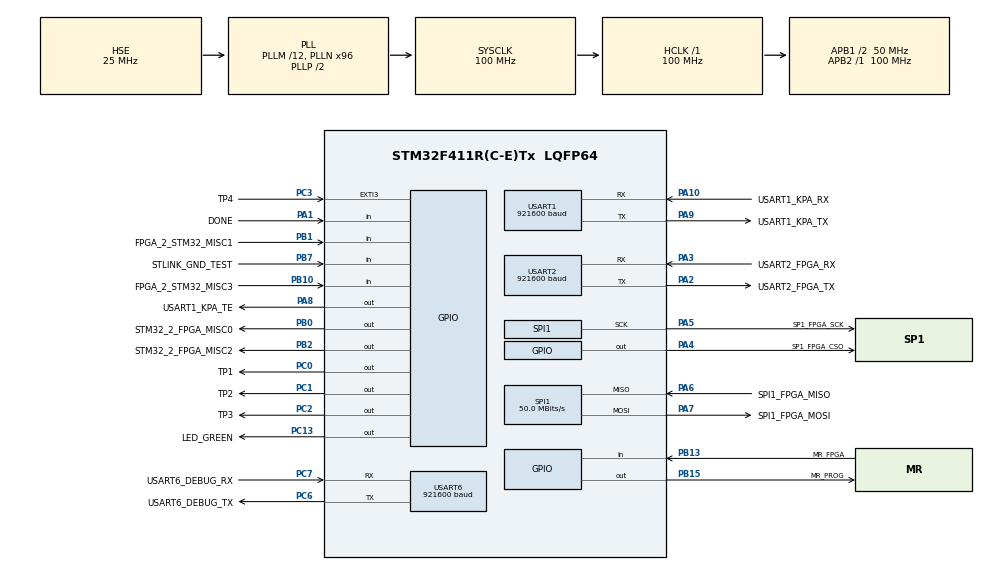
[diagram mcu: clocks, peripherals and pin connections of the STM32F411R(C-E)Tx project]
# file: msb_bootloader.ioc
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ADC1.Channel-0\#ChannelRegularConversion=ADC_CHANNEL_TEMPSENSOR
ADC1.ContinuousConvMode=ENABLE
ADC1.ExternalTrigConv=ADC_SOFTWARE_START
ADC1.InjNumberOfConversion=0
ADC1.NbrOfConversion=1
ADC1.NbrOfConversionFlag=1
ADC1.Rank-0\#ChannelRegularConversion=1
ADC1.SamplingTime-0\#ChannelRegularConversion=ADC_SAMPLETIME_480CYCLES
ADC1.master=1
Dma.Request0=USART6_RX
Dma.Request1=USART6_TX
Dma.Request2=USART1_RX
Dma.Request3=USART1_TX
Dma.Request4=USART2_RX
Dma.Request5=USART2_TX
Dma.USART1_RX.2.Direction=DMA_PERIPH_TO_MEMORY
Dma.USART1_RX.2.FIFOMode=DMA_FIFOMODE_DISABLE
Dma.USART1_RX.2.Instance=DMA2_Stream2
Dma.USART1_RX.2.MemDataAlignment=DMA_MDATAALIGN_BYTE
Dma.USART1_RX.2.MemInc=DMA_MINC_ENABLE
Dma.USART1_RX.2.Mode=DMA_CIRCULAR
Dma.USART1_RX.2.PeriphDataAlignment=DMA_PDATAALIGN_BYTE
Dma.USART1_RX.2.PeriphInc=DMA_PINC_DISABLE
Dma.USART1_RX.2.Priority=DMA_PRIORITY_LOW
Dma.USART1_TX.3.Direction=DMA_MEMORY_TO_PERIPH
Dma.USART1_TX.3.FIFOMode=DMA_FIFOMODE_DISABLE
Dma.USART1_TX.3.Instance=DMA2_Stream7
Dma.USART1_TX.3.MemDataAlignment=DMA_MDATAALIGN_BYTE
Dma.USART1_TX.3.MemInc=DMA_MINC_ENABLE
Dma.USART1_TX.3.Mode=DMA_NORMAL
Dma.USART1_TX.3.PeriphDataAlignment=DMA_PDATAALIGN_BYTE
Dma.USART1_TX.3.PeriphInc=DMA_PINC_DISABLE
Dma.USART1_TX.3.Priority=DMA_PRIORITY_LOW
Dma.USART2_RX.4.Direction=DMA_PERIPH_TO_MEMORY
Dma.USART2_RX.4.FIFOMode=DMA_FIFOMODE_DISABLE
Dma.USART2_RX.4.Instance=DMA1_Stream5
Dma.USART2_RX.4.MemDataAlignment=DMA_MDATAALIGN_BYTE
Dma.USART2_RX.4.MemInc=DMA_MINC_ENABLE
Dma.USART2_RX.4.Mode=DMA_NORMAL
Dma.USART2_RX.4.PeriphDataAlignment=DMA_PDATAALIGN_BYTE
Dma.USART2_RX.4.PeriphInc=DMA_PINC_DISABLE
Dma.USART2_RX.4.Priority=DMA_PRIORITY_LOW
Dma.USART2_TX.5.Direction=DMA_MEMORY_TO_PERIPH
Dma.USART2_TX.5.FIFOMode=DMA_FIFOMODE_DISABLE
Dma.USART2_TX.5.Instance=DMA1_Stream6
Dma.USART2_TX.5.MemDataAlignment=DMA_MDATAALIGN_BYTE
Dma.USART2_TX.5.MemInc=DMA_MINC_ENABLE
Dma.USART2_TX.5.Mode=DMA_NORMAL
Dma.USART2_TX.5.PeriphDataAlignment=DMA_PDATAALIGN_BYTE
Dma.USART2_TX.5.PeriphInc=DMA_PINC_DISABLE
Dma.USART2_TX.5.Priority=DMA_PRIORITY_LOW
Dma.USART6_RX.0.Direction=DMA_PERIPH_TO_MEMORY
Dma.USART6_RX.0.FIFOMode=DMA_FIFOMODE_DISABLE
Dma.USART6_RX.0.Instance=DMA2_Stream1
Dma.USART6_RX.0.MemDataAlignment=DMA_MDATAALIGN_BYTE
Dma.USART6_RX.0.MemInc=DMA_MINC_ENABLE
Dma.USART6_RX.0.Mode=DMA_CIRCULAR
Dma.USART6_RX.0.PeriphDataAlignment=DMA_PDATAALIGN_BYTE
Dma.USART6_RX.0.PeriphInc=DMA_PINC_DISABLE
Dma.USART6_RX.0.Priority=DMA_PRIORITY_LOW
Dma.USART6_TX.1.Direction=DMA_MEMORY_TO_PERIPH
Dma.USART6_TX.1.FIFOMode=DMA_FIFOMODE_DISABLE
Dma.USART6_TX.1.Instance=DMA2_Stream6
Dma.USART6_TX.1.MemDataAlignment=DMA_MDATAALIGN_BYTE
Dma.USART6_TX.1.MemInc=DMA_MINC_ENABLE
Dma.USART6_TX.1.Mode=DMA_NORMAL
Dma.USART6_TX.1.PeriphDataAlignment=DMA_PDATAALIGN_BYTE
Dma.USART6_TX.1.PeriphInc=DMA_PINC_DISABLE
Dma.USART6_TX.1.Priority=DMA_PRIORITY_LOW
FREERTOS.Tasks01=defaultTask,24,1024,StartDefaultTask,Default,NULL,Dynamic,NULL,NULL;TerminalTask,16,1024,StartTerminalTask,Default,NULL,Dynamic,NULL,NULL;TemperatureTask,8,1024,StartTemperatureTask,Default,NULL,Dynamic,NULL,NULL
FREERTOS.configTOTAL_HEAP_SIZE=32768
FREERTOS.configUSE_NEWLIB_REENTRANT=1
Mcu.Family=STM32F4
Mcu.Name=STM32F411R(C-E)Tx
Mcu.Package=LQFP64
NVIC.DMA1_Stream5_IRQn=true\:5\:0\:false\:false\:true\:true\:false\:true\:true
NVIC.DMA1_Stream6_IRQn=true\:5\:0\:false\:false\:true\:true\:false\:true\:true
NVIC.DMA2_Stream1_IRQn=true\:5\:0\:false\:false\:true\:true\:false\:true\:true
NVIC.DMA2_Stream2_IRQn=true\:5\:0\:false\:false\:true\:true\:false\:true\:true
NVIC.DMA2_Stream6_IRQn=true\:5\:0\:false\:false\:true\:true\:false\:true\:true
NVIC.DMA2_Stream7_IRQn=true\:5\:0\:false\:false\:true\:true\:false\:true\:true
NVIC.PriorityGroup=NVIC_PRIORITYGROUP_4
NVIC.TIM1_UP_TIM10_IRQn=true\:15\:0\:false\:false\:true\:false\:false\:true\:true
NVIC.TimeBase=TIM1_UP_TIM10_IRQn
NVIC.TimeBaseIP=TIM10
NVIC.USART1_IRQn=true\:5\:0\:false\:false\:true\:true\:true\:true\:true
NVIC.USART2_IRQn=true\:5\:0\:false\:false\:true\:true\:true\:true\:true
NVIC.USART6_IRQn=true\:5\:0\:false\:false\:true\:true\:true\:true\:true
PA1.GPIO_Label=DONE
PA1.Signal=GPIO_Input
PA10.GPIO_Label=USART1_KPA_RX
PA10.Mode=Asynchronous
PA10.Signal=USART1_RX
PA13.Mode=Trace_Asynchronous_SW
PA13.Signal=SYS_JTMS-SWDIO
PA14.Mode=Trace_Asynchronous_SW
PA14.Signal=SYS_JTCK-SWCLK
PA2.GPIO_Label=USART2_FPGA_TX
PA2.Mode=Asynchronous
PA2.Signal=USART2_TX
PA3.GPIO_Label=USART2_FPGA_RX
PA3.Mode=Asynchronous
PA3.Signal=USART2_RX
PA4.GPIO_Label=SP1_FPGA_CSO
PA4.GPIO_Speed=GPIO_SPEED_FREQ_VERY_HIGH
PA4.PinState=GPIO_PIN_SET
PA4.Signal=GPIO_Output
PA5.GPIO_Label=SP1_FPGA_SCK
PA5.Mode=Full_Duplex_Master
PA5.Signal=SPI1_SCK
PA6.GPIO_Label=SPI1_FPGA_MISO
PA6.Mode=Full_Duplex_Master
PA6.Signal=SPI1_MISO
PA7.GPIO_Label=SPI1_FPGA_MOSI
PA7.Mode=Full_Duplex_Master
PA7.Signal=SPI1_MOSI
PA8.GPIO_Label=USART1_KPA_TE
PA8.Signal=GPIO_Output
PA9.GPIO_Label=USART1_KPA_TX
PA9.Mode=Asynchronous
PA9.Signal=USART1_TX
PB0.GPIO_Label=STM32_2_FPGA_MISC0
PB0.PinState=GPIO_PIN_SET
PB0.Signal=GPIO_Output
PB1.GPIO_Label=FPGA_2_STM32_MISC1
PB1.GPIO_PuPd=GPIO_PULLUP
PB1.Signal=GPIO_Input
PB10.GPIO_Label=FPGA_2_STM32_MISC3
PB10.Signal=GPIO_Input
PB13.GPIO_Label=MR_FPGA
PB13.GPIO_PuPd=GPIO_PULLUP
PB13.Signal=GPIO_Input
PB15.GPIO_Label=MR_PROG
PB15.Signal=GPIO_Output
PB2.GPIO_Label=STM32_2_FPGA_MISC2
PB2.PinState=GPIO_PIN_SET
PB2.Signal=GPIO_Output
PB3.Mode=Trace_Asynchronous_SW
PB3.Signal=SYS_JTDO-SWO
PB7.GPIO_Label=STLINK_GND_TEST
PB7.GPIO_PuPd=GPIO_PULLUP
PB7.Signal=GPIO_Input
PC0.GPIO_Label=TP1
PC0.Signal=GPIO_Output
PC1.GPIO_Label=TP2
PC1.Signal=GPIO_Output
PC13-ANTI_TAMP.GPIO_Label=LED_GREEN
PC13-ANTI_TAMP.Signal=GPIO_Output
PC2.GPIO_Label=TP3
PC2.Signal=GPIO_Output
PC3.GPIO_Label=TP4
PC3.Signal=GPXTI3
PC6.GPIO_Label=USART6_DEBUG_TX
PC6.Mode=Asynchronous
PC6.Signal=USART6_TX
PC7.GPIO_Label=USART6_DEBUG_RX
PC7.Mode=Asynchronous
PC7.Signal=USART6_RX
PH0\ -\ OSC_IN.GPIO_Label=CLK25MHZ
PH0\ -\ OSC_IN.Mode=HSE-External-Clock-Source
PH0\ -\ OSC_IN.Signal=RCC_OSC_IN
PH1\ -\ OSC_OUT.Mode=HSE-External-Clock-Source
PH1\ -\ OSC_OUT.Signal=RCC_OSC_OUT
ProjectManager.HeapSize=0x4000
ProjectManager.StackSize=0x2000
ProjectManager.TargetToolchain=STM32CubeIDE
RCC.48MHZClocksFreq_Value=50000000
RCC.AHBFreq_Value=100000000
RCC.APB1CLKDivider=RCC_HCLK_DIV2
RCC.APB1Freq_Value=50000000
RCC.APB1TimFreq_Value=100000000
RCC.APB2Freq_Value=100000000
RCC.APB2TimFreq_Value=100000000
RCC.CortexFreq_Value=100000000
RCC.HCLKFreq_Value=100000000
RCC.HSE_VALUE=25000000
RCC.HSI_VALUE=16000000
RCC.LSE_VALUE=32768
RCC.PLLM=12
RCC.PLLN=96
RCC.PLLSourceVirtual=RCC_PLLSOURCE_HSE
RCC.SYSCLKFreq_VALUE=100000000
RCC.SYSCLKSource=RCC_SYSCLKSOURCE_PLLCLK
RCC.VCOOutputFreq_Value=200000000
SPI1.BaudRatePrescaler=SPI_BAUDRATEPRESCALER_2
SPI1.CLKPolarity=SPI_POLARITY_LOW
SPI1.CalculateBaudRate=50.0 MBits/s
SPI1.Direction=SPI_DIRECTION_2LINES
SPI1.Mode=SPI_MODE_MASTER
SPI1.VirtualType=VM_MASTER
USART1.BaudRate=921600
USART1.Parity=PARITY_EVEN
USART1.VirtualMode=VM_ASYNC
USART1.WordLength=WORDLENGTH_9B
USART2.BaudRate=921600
USART2.Parity=PARITY_NONE
USART2.VirtualMode=VM_ASYNC
USART2.WordLength=WORDLENGTH_8B
USART6.BaudRate=921600
USART6.Parity=PARITY_EVEN
USART6.VirtualMode=VM_ASYNC
USART6.WordLength=WORDLENGTH_9B
VP_ADC1_TempSens_Input.Mode=IN-TempSens
VP_CRC_VS_CRC.Mode=CRC_Activate
VP_FREERTOS_VS_CMSIS_V2.Mode=CMSIS_V2
VP_SYS_VS_tim10.Mode=TIM10
board=custom

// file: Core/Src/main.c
/* USER CODE BEGIN Header */
/**
  ******************************************************************************
  * @file           : main.c
  * @brief          : Main program body
  ******************************************************************************
  * @attention
  *
  * Copyright (c) 2026 STMicroelectronics.
  * All rights reserved.
  *
  * This software is licensed under terms that can be found in the LICENSE file
  * in the root directory of this software component.
  * If no LICENSE file comes with this software, it is provided AS-IS.
  *
  ******************************************************************************
  */
/* USER CODE END Header */
#include "main.h"
#include "cmsis_os.h"
#include "adc.h"
#include "crc.h"
#include "dma.h"
#include "spi.h"
#include "usart.h"
#include "gpio.h"

/* USER CODE BEGIN Includes */
#include  "board_support_package.h"
/* USER CODE END Includes */

/* USER CODE BEGIN PV */
/* Global flag indicating if the current boot is a Software Reset (Warm Boot) */
bool is_soft_reset_detected = false;
/* USER CODE END PV */

void SystemClock_Config(void);
void MX_FREERTOS_Init(void);

int main(void)
{

  /* USER CODE BEGIN 1 */
	/* Capture reset cause register before HAL_Init or RCC configuration clears it */
	is_soft_reset_detected = get_rcc_csr();
  /* USER CODE END 1 */

  /* MCU Configuration--------------------------------------------------------*/

  /* Reset of all peripherals, Initializes the Flash interface and the Systick. */
  HAL_Init();

  /* Configure the system clock */
  SystemClock_Config();

  /* Initialize all configured peripherals */
  MX_GPIO_Init();
  MX_DMA_Init();
  MX_USART6_UART_Init();
  MX_USART1_UART_Init();
  MX_USART2_UART_Init();
  MX_SPI1_Init();
  MX_ADC1_Init();
  MX_CRC_Init();

  /* Init scheduler */
  osKernelInitialize();  /* Call init function for freertos objects (in cmsis_os2.c) */
  MX_FREERTOS_Init();

  /* Start scheduler */
  osKernelStart();

  /* We should never get here as control is now taken by the scheduler */

  /* Infinite loop */
  while (1)
  {

  }
}

void SystemClock_Config(void)
{
  RCC_OscInitTypeDef RCC_OscInitStruct = {0};
  RCC_ClkInitTypeDef RCC_ClkInitStruct = {0};

  /** Configure the main internal regulator output voltage
  */
  __HAL_RCC_PWR_CLK_ENABLE();
  __HAL_PWR_VOLTAGESCALING_CONFIG(PWR_REGULATOR_VOLTAGE_SCALE1);

  /** Initializes the RCC Oscillators according to the specified parameters
  * in the RCC_OscInitTypeDef structure.
  */
  RCC_OscInitStruct.OscillatorType = RCC_OSCILLATORTYPE_HSE;
  RCC_OscInitStruct.HSEState = RCC_HSE_BYPASS;
  RCC_OscInitStruct.PLL.PLLState = RCC_PLL_ON;
  RCC_OscInitStruct.PLL.PLLSource = RCC_PLLSOURCE_HSE;
  RCC_OscInitStruct.PLL.PLLM = 12;
  RCC_OscInitStruct.PLL.PLLN = 96;
  RCC_OscInitStruct.PLL.PLLP = RCC_PLLP_DIV2;
  RCC_OscInitStruct.PLL.PLLQ = 4;
  if (HAL_RCC_OscConfig(&RCC_OscInitStruct) != HAL_OK)
  {
    Error_Handler();
  }

  /** Initializes the CPU, AHB and APB buses clocks
  */
  RCC_ClkInitStruct.ClockType = RCC_CLOCKTYPE_HCLK|RCC_CLOCKTYPE_SYSCLK
                              |RCC_CLOCKTYPE_PCLK1|RCC_CLOCKTYPE_PCLK2;
  RCC_ClkInitStruct.SYSCLKSource = RCC_SYSCLKSOURCE_PLLCLK;
  RCC_ClkInitStruct.AHBCLKDivider = RCC_SYSCLK_DIV1;
  RCC_ClkInitStruct.APB1CLKDivider = RCC_HCLK_DIV2;
  RCC_ClkInitStruct.APB2CLKDivider = RCC_HCLK_DIV1;

  if (HAL_RCC_ClockConfig(&RCC_ClkInitStruct, FLASH_LATENCY_3) != HAL_OK)
  {
    Error_Handler();
  }
}

void HAL_TIM_PeriodElapsedCallback(TIM_HandleTypeDef *htim)
{
  if (htim->Instance == TIM10)
  {
    HAL_IncTick();
  }
}

void Error_Handler(void)
{
  __disable_irq();
  while (1)
  {
  }
}

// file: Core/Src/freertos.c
/* --- START OF FILE freertos.c --- */

/* USER CODE BEGIN Header */
/**
  ******************************************************************************
  * File Name          : freertos.c
  * Description        : Code for freertos applications (Strictly within USER CODE blocks)
  ******************************************************************************
  * @attention
  *
  * Copyright (c) 2026 STMicroelectronics.
  * All rights reserved.
  *
  * This software is licensed under terms that can be found in the LICENSE file
  * in the root directory of this software component.
  * If no LICENSE file comes with this software, it is provided AS-IS.
  *
  ******************************************************************************
  */
/* USER CODE END Header */

#include "FreeRTOS.h"
#include "task.h"
#include "main.h"
#include "cmsis_os.h"

/* USER CODE BEGIN Includes */
#include "board_support_package.h"  /* Safe central registry include */
#include "pin_mgmt.h"               /* Safe Pin access include */
#include "terminal.h"               /* Safe Terminal control include */
/* USER CODE END Includes */

/* USER CODE BEGIN PD */
/* Флаг синхронизации для старта задач после инициализации железа */
#define TASK_START_FLAG 0x01U
/* USER CODE END PD */

/* USER CODE BEGIN Variables */
/* Extern declarations to access analog values from board_support_package.c */
extern float cpu_temperature;
extern float adc_voltage;
/* USER CODE END Variables */
/* Definitions for defaultTask */
osThreadId_t defaultTaskHandle;
const osThreadAttr_t defaultTask_attributes = {
  .name = "defaultTask",
  .stack_size = 1024 * 4,
  .priority = (osPriority_t) osPriorityNormal,
};
/* Definitions for TerminalTask */
osThreadId_t TerminalTaskHandle;
const osThreadAttr_t TerminalTask_attributes = {
  .name = "TerminalTask",
  .stack_size = 1024 * 4,
  .priority = (osPriority_t) osPriorityBelowNormal,
};
/* Definitions for TemperatureTask */
osThreadId_t TemperatureTaskHandle;
const osThreadAttr_t TemperatureTask_attributes = {
  .name = "TemperatureTask",
  .stack_size = 1024 * 4,
  .priority = (osPriority_t) osPriorityLow,
};

void StartDefaultTask(void *argument);
void StartTerminalTask(void *argument);
void StartTemperatureTask(void *argument);

void MX_FREERTOS_Init(void); /* (MISRA C 2004 rule 8.1) */

void MX_FREERTOS_Init(void) {

  /* Create the thread(s) */
  /* creation of defaultTask */
  defaultTaskHandle = osThreadNew(StartDefaultTask, NULL, &defaultTask_attributes);

  /* creation of TerminalTask */
  TerminalTaskHandle = osThreadNew(StartTerminalTask, NULL, &TerminalTask_attributes);

  /* creation of TemperatureTask */
  TemperatureTaskHandle = osThreadNew(StartTemperatureTask, NULL, &TemperatureTask_attributes);

}

void StartDefaultTask(void *argument)
{
  /* USER CODE BEGIN StartDefaultTask */

    /* Run board-level POST and hardware initialization */
    /* Любые задержки (osDelay) внутри этой функции теперь абсолютно безопасны */
	init_hardware();

    /* Cascade start tasks based on POST diagnostic results using Thread Flags */
	if (test_status_hardware(_B_FAULT_TERMINAL_)) {
        osThreadFlagsSet(TerminalTaskHandle, TASK_START_FLAG);
	}

    /* CPU internal temperature is highly reliable, always start */
	if (test_status_hardware(_B_FAULT_PINS_)) {
        osThreadFlagsSet(TemperatureTaskHandle, TASK_START_FLAG);
	}

	for (;;) {
        /* Direct fast port toggle on Test Point 1 (No mutex overhead) */
		PIN_Toggle_F(&pin_tp1);
		osDelay(10);
	}
  /* USER CODE END StartDefaultTask */
}

void StartTerminalTask(void *argument)
{
  /* USER CODE BEGIN StartTerminalTask */

  /* Ожидаем флага от defaultTask. Задача спит и не потребляет ресурсы CPU. */
  osThreadFlagsWait(TASK_START_FLAG, osFlagsWaitAny, osWaitForever);

  /* Infinite loop */
  for(;;)
  {
    terminal_task();
  }
  /* USER CODE END StartTerminalTask */
}

void StartTemperatureTask(void *argument)
{
  /* USER CODE BEGIN StartTemperatureTask */

  /* Ожидаем флага от defaultTask. Задача спит и не потребляет ресурсы CPU. */
  osThreadFlagsWait(TASK_START_FLAG, osFlagsWaitAny, osWaitForever);

  /* Infinite loop */
  for(;;)
  {
    /* Read CPU internal core temperature every 100 ms */
    cpu_temperature = Read_Temperature();
    osDelay(100);
  }
  /* USER CODE END StartTemperatureTask */
}

/* --- END OF FILE freertos.c --- */
